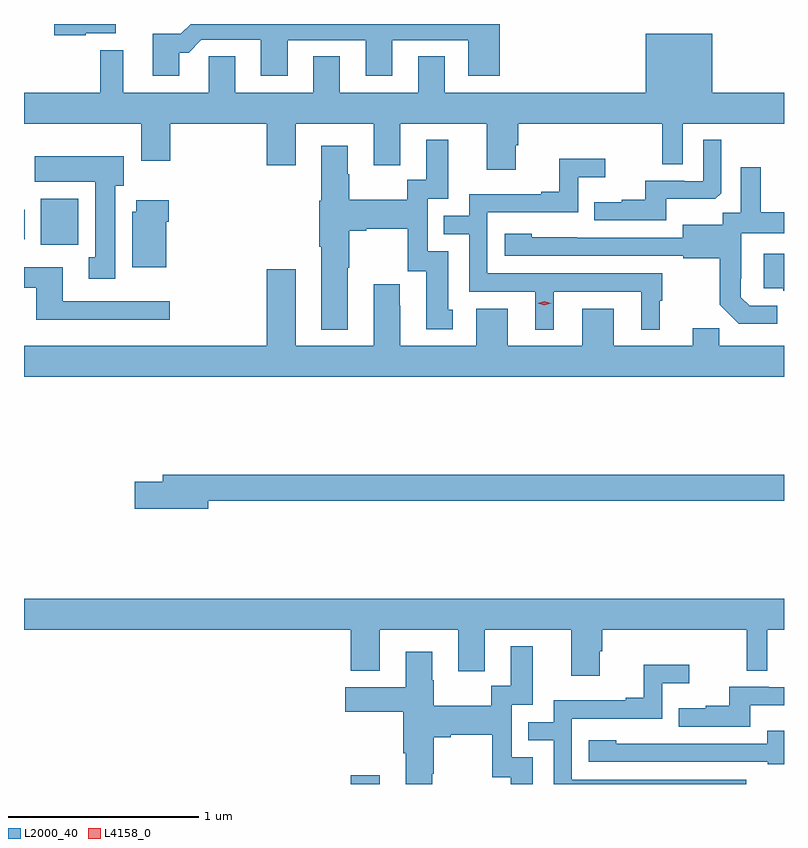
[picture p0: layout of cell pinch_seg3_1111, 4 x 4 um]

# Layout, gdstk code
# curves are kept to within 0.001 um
import gdstk
lib = gdstk.Library(unit=1e-6, precision=1e-09)
def R(c, l, rs):  # rectangles x0, y0, x1, y1
    for r in rs: c.add(gdstk.rectangle(r[:2], r[2:], *l))
def P(c, l, *ps):  # polygons
    for p in ps: c.add(gdstk.Polygon(p, *l))
L2000_40 = (2000, 40)
L4158_0 = (4158, 0)

pinch_seg3_1111 = lib.new_cell('pinch_seg3_1111')
R(pinch_seg3_1111, L2000_40, [(150.047,741.397,150.199,741.442), (148.415,744.236,148.612,744.478), (148.326,744.264,148.33,744.42)])
P(pinch_seg3_1111, L2000_40, [(149.143,745.247),(149.192,745.247),(149.259,745.314),(149.573,745.314),(149.573,745.125),(149.713,745.125),(149.713,745.311),(150.125,745.311),(150.125,745.125),(150.265,745.125),(150.265,745.311),(150.665,745.311),(150.665,745.125),(150.83,745.125),(150.83,745.397),(149.204,745.397),(149.152,745.345),(149.003,745.345),(149.003,745.125),(149.143,745.125)],
  [(148.65,745.349),(148.81,745.349),(148.81,745.397),(148.484,745.397),(148.484,745.337),(148.65,745.337)],
  [(150.913,744.759),(150.926,744.759),(150.926,744.872),(151.686,744.872),(151.686,744.658),(151.794,744.658),(151.794,744.872),(152.326,744.872),(152.326,745.036),(151.948,745.036),(151.948,745.345),(151.598,745.345),(151.598,745.036),(150.541,745.036),(150.541,745.226),(150.401,745.226),(150.401,745.036),(149.989,745.036),(149.989,745.226),(149.849,745.226),(149.849,745.036),(149.437,745.036),(149.437,745.226),(149.298,745.226),(149.298,745.036),(148.849,745.036),(148.849,745.258),(148.728,745.258),(148.728,745.036),(148.326,745.036),(148.326,744.872),(148.943,744.872),(148.943,744.678),(149.096,744.678),(149.096,744.872),(149.603,744.872),(149.603,744.654),(149.755,744.654),(149.755,744.872),(150.167,744.872),(150.167,744.654),(150.307,744.654),(150.307,744.872),(150.761,744.872),(150.761,744.63),(150.913,744.63)],
  [(150.031,744.115),(150.039,744.115),(150.039,744.308),(150.127,744.308),(150.127,744.32),(150.347,744.32),(150.347,744.096),(150.443,744.096),(150.443,743.79),(150.583,743.79),(150.583,743.892),(150.559,743.892),(150.559,744.201),(150.45,744.201),(150.45,744.477),(150.559,744.477),(150.559,744.787),(150.443,744.787),(150.443,744.578),(150.342,744.578),(150.342,744.472),(150.039,744.472),(150.039,744.606),(150.031,744.606),(150.031,744.757),(149.891,744.757),(149.891,744.468),(149.879,744.468),(149.879,744.224),(149.891,744.224),(149.891,743.789),(150.031,743.789)],
  [(151.705,744.476),(151.963,744.476),(151.995,744.507),(151.995,744.787),(151.902,744.787),(151.902,744.57),(151.802,744.57),(151.802,744.573),(151.595,744.573),(151.595,744.472),(151.471,744.472),(151.471,744.46),(151.327,744.46),(151.327,744.363),(151.705,744.363)],
  [(148.807,744.546),(148.852,744.546),(148.852,744.7),(148.383,744.7),(148.383,744.566),(148.7,744.566),(148.7,744.17),(148.667,744.17),(148.667,744.057),(148.807,744.057)],
  [(151.114,743.988),(151.574,743.988),(151.574,743.789),(151.672,743.789),(151.672,743.94),(151.684,743.94),(151.684,744.084),(150.765,744.084),(150.765,744.405),(151.242,744.405),(151.242,744.59),(151.384,744.59),(151.384,744.689),(151.144,744.689),(151.144,744.514),(151.049,744.514),(151.049,744.501),(150.669,744.501),(150.669,744.387),(150.535,744.387),(150.535,744.291),(150.669,744.291),(150.669,743.988),(151.016,743.988),(151.016,743.789),(151.114,743.789)],
  [(152.29,743.913),(152.145,743.913),(152.098,743.96),(152.098,744.055),(152.1,744.055),(152.1,744.296),(152.326,744.296),(152.326,744.406),(152.203,744.406),(152.203,744.643),(152.099,744.643),(152.099,744.404),(152.004,744.404),(152.004,744.34),(151.793,744.34),(151.793,744.273),(150.999,744.274),(150.999,744.292),(150.855,744.292),(150.855,744.177),(151.797,744.177),(151.797,744.165),(151.989,744.165),(151.989,743.919),(152.089,743.819),(152.29,743.819)],
  [(149.074,744.356),(149.087,744.356),(149.087,744.469),(148.916,744.469),(148.916,744.408),(148.895,744.408),(148.895,744.116),(149.074,744.116)],
  [(152.326,744.187),(152.219,744.187),(152.219,744.006),(152.323,744.006),(152.323,743.994),(152.326,743.994)],
  [(149.092,743.937),(148.531,743.937),(148.531,744.118),(148.326,744.118),(148.326,744.009),(148.391,744.009),(148.391,743.84),(149.092,743.84)],
  [(152.326,743.704),(151.985,743.704),(151.985,743.795),(151.847,743.795),(151.847,743.704),(151.429,743.704),(151.429,743.899),(151.265,743.899),(151.265,743.704),(150.871,743.704),(150.871,743.899),(150.707,743.899),(150.707,743.704),(150.307,743.704),(150.307,743.915),(150.304,743.915),(150.304,744.028),(150.167,744.028),(150.167,743.704),(149.755,743.704),(149.755,744.106),(149.603,744.106),(149.603,743.704),(148.326,743.704),(148.326,743.54),(152.326,743.54)],
  [(149.296,742.888),(152.326,742.888),(152.326,743.024),(149.057,743.024),(149.057,742.988),(148.908,742.988),(148.908,742.846),(149.296,742.846)],
  [(151.357,742.095),(151.37,742.095),(151.37,742.208),(152.13,742.208),(152.13,741.994),(152.238,741.994),(152.238,742.208),(152.326,742.208),(152.326,742.372),(148.326,742.372),(148.326,742.208),(150.047,742.208),(150.047,741.992),(150.199,741.992),(150.199,742.208),(150.611,742.208),(150.611,741.99),(150.751,741.99),(150.751,742.208),(151.205,742.208),(151.205,741.966),(151.357,741.966)],
  [(150.475,741.451),(150.483,741.451),(150.483,741.644),(150.571,741.644),(150.571,741.656),(150.791,741.656),(150.791,741.432),(150.887,741.432),(150.887,741.397),(151.003,741.397),(151.003,741.537),(150.894,741.537),(150.894,741.813),(151.003,741.813),(151.003,742.123),(150.887,742.123),(150.887,741.914),(150.786,741.914),(150.786,741.808),(150.483,741.808),(150.483,741.942),(150.475,741.942),(150.475,742.093),(150.335,742.093),(150.335,741.907),(150.018,741.907),(150.018,741.778),(150.323,741.778),(150.323,741.56),(150.335,741.56),(150.335,741.397),(150.475,741.397)],
  [(152.128,741.42),(151.209,741.42),(151.209,741.741),(151.686,741.741),(151.686,741.926),(151.828,741.926),(151.828,742.025),(151.588,742.025),(151.588,741.85),(151.493,741.85),(151.493,741.837),(151.113,741.837),(151.113,741.723),(150.979,741.723),(150.979,741.627),(151.113,741.627),(151.113,741.397),(152.128,741.397)],
  [(152.149,741.812),(152.326,741.812),(152.326,741.906),(152.246,741.906),(152.246,741.909),(152.039,741.909),(152.039,741.808),(151.915,741.808),(151.915,741.796),(151.771,741.796),(151.771,741.699),(152.149,741.699)],
  [(152.326,741.676),(152.237,741.676),(152.237,741.609),(151.679,741.609),(151.679,741.61),(151.443,741.61),(151.443,741.628),(151.299,741.628),(151.299,741.513),(152.241,741.513),(152.241,741.501),(152.326,741.501)])
P(pinch_seg3_1111, L4158_0, [(151.065,743.917),(151.03,743.926),(151.03,743.927),(151.03,743.927),(151.065,743.937),(151.1,743.927),(151.1,743.927),(151.1,743.926)])

lib.write_gds('pinch_seg3_1111.gds')
